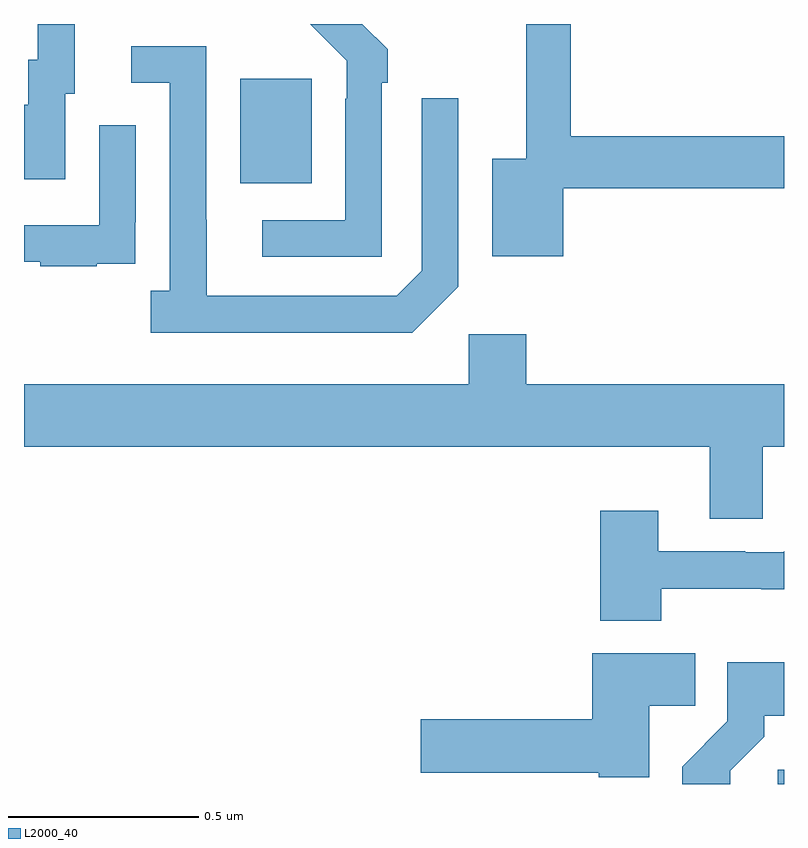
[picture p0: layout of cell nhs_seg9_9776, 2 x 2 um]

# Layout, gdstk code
import gdstk
lib = gdstk.Library(unit=1e-6, precision=1e-09)
def R(c, l, rs):  # rectangles x0, y0, x1, y1
    for r in rs: c.add(gdstk.rectangle(r[:2], r[2:], *l))
def P(c, l, *ps):  # polygons
    for p in ps: c.add(gdstk.Polygon(p, *l))
L2000_40 = (2000, 40)

nhs_seg9_9776 = lib.new_cell('nhs_seg9_9776')
R(nhs_seg9_9776, L2000_40, [(235.983,1227.5,236,1227.537), (234.569,1229.081,234.757,1229.356)])
P(nhs_seg9_9776, L2000_40, [(235.419,1229.068),(236,1229.068),(236,1229.204),(235.439,1229.204),(235.439,1229.5),(235.322,1229.5),(235.322,1229.146),(235.232,1229.146),(235.232,1228.889),(235.419,1228.889)],
  [(234.109,1229.316),(234.133,1229.316),(234.133,1229.5),(234.036,1229.5),(234.036,1229.406),(234.011,1229.406),(234.011,1229.287),(234,1229.287),(234,1229.091),(234.109,1229.091)],
  [(234.942,1229.345),(234.957,1229.345),(234.957,1229.433),(234.89,1229.5),(234.753,1229.5),(234.849,1229.403),(234.849,1229.303),(234.846,1229.303),(234.846,1228.983),(234.627,1228.983),(234.627,1228.887),(234.942,1228.887)],
  [(235.143,1228.809),(235.143,1229.305),(235.047,1229.305),(235.047,1228.851),(234.981,1228.785),(234.481,1228.785),(234.481,1228.985),(234.48,1228.985),(234.48,1229.442),(234.282,1229.442),(234.282,1229.346),(234.384,1229.346),(234.384,1228.798),(234.333,1228.798),(234.333,1228.688),(235.022,1228.688)],
  [(234.191,1228.869),(234.293,1228.869),(234.293,1228.978),(234.294,1228.978),(234.294,1229.233),(234.198,1229.233),(234.198,1228.971),(234,1228.971),(234,1228.875),(234.043,1228.875),(234.043,1228.863),(234.191,1228.863)],
  [(235.944,1228.388),(236,1228.388),(236,1228.552),(235.322,1228.552),(235.322,1228.684),(235.17,1228.684),(235.17,1228.552),(234,1228.552),(234,1228.388),(235.805,1228.388),(235.805,1228.198),(235.944,1228.198)],
  [(235.677,1228.014),(235.94,1228.014),(235.94,1228.013),(236,1228.013),(236,1228.112),(235.998,1228.11),(235.898,1228.11),(235.898,1228.113),(235.669,1228.113),(235.669,1228.219),(235.517,1228.219),(235.517,1227.929),(235.677,1227.929)],
  [(235.645,1227.706),(235.766,1227.706),(235.766,1227.844),(235.496,1227.844),(235.496,1227.671),(235.044,1227.671),(235.044,1227.529),(235.512,1227.529),(235.512,1227.518),(235.645,1227.518)],
  [(235.858,1227.535),(235.948,1227.625),(235.948,1227.68),(236,1227.68),(236,1227.82),(235.851,1227.82),(235.851,1227.665),(235.732,1227.546),(235.732,1227.5),(235.858,1227.5)])

lib.write_gds('nhs_seg9_9776.gds')
